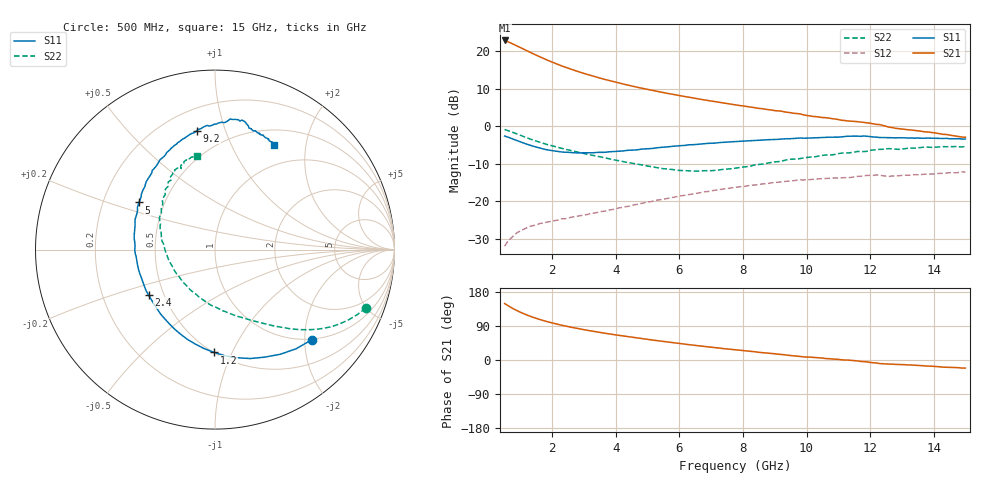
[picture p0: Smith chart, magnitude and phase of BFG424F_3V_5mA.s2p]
! Filename BFG424F_3V_5mA.prm
! Created	by	janssen	on		nov	2006
!	Column ranking S11, S21,S12,S22 both magnitude and phase.
!	VCE	=	3	V,	IC	=	5	mA
!	Common	Emitter	S-Parameters
#	GHZ	S	MA	R	50
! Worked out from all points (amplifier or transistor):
!   146 points, 500 MHz to 15 GHz, reference 50 ohm
!   highest |S21| = 22.8 dB at 500 MHz (marker M1)
!   |S21| within 3 dB of that: start of sweep to 1.261 GHz
!   unconditionally stable (mu >= 1): 3.083 GHz to end of sweep
!   at 2.9 GHz: K = 0.95, MSG = 19.1 dB, |S12| = -23.9 dB
!   at 7.8 GHz: K = 1.25, MAG = 8.0 dB, |S12| = -16.3 dB
!   at 15 GHz: K = 1.57, MAG = 0.2 dB, |S12| = -12.3 dB
!   S11 on the Smith chart (normalised r, x): 500 MHz: 0.99, -2.17; 1.2 GHz: 0.50, -0.86; 2.4 GHz: 0.41, -0.26; 5 GHz: 0.36, +0.25; 9.2 GHz: 0.33, +0.80; 15 GHz: 0.69, +1.48
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0.5  0.737 -42.9  13.87 148.9  0.025 68.8  0.902 -21.2
0.6  0.714 -50.7  13.34 143.7  0.029 65.1  0.871 -24.6
0.7  0.687 -58.1  12.8 138.7  0.032 62.5  0.841 -27.7
0.8  0.66 -65.2  12.23 134.1  0.035 60.0  0.811 -30.6
1  0.615 -78.4  11.12 125.9  0.04 55.9  0.752 -35.6
1.2  0.573 -90.5  10.1 118.8  0.044 53.1  0.698 -39.7
1.4  0.538 -101.6  9.2 112.5  0.047 50.9  0.651 -43.2
1.7  0.498 -116.5  8.066 104.5  0.051 49.2  0.591 -47.7
1.9  0.477 -125.7  7.404 99.8  0.053 48.7  0.558 -50.4
2.1  0.462 -134.1  6.85 95.6  0.055 48.5  0.53 -53.0
2.4  0.448 -145.8  6.124 89.9  0.058 48.8  0.492 -56.7
3  0.44 -165.7  5.032 80.0  0.065 50.5  0.431 -64.5
3.7  0.449 174.7  4.142 70.0  0.074 52.5  0.373 -75.3
4.2  0.465 163.2  3.662 63.7  0.082 53.8  0.338 -84.3
5  0.499 148.2  3.083 54.4  0.097 54.4  0.293 -101.0
5.4  0.518 141.4  2.859 49.9  0.104 54.1  0.274 -110.9
6.5  0.567 125.9  2.345 38.5  0.126 52.3  0.251 -142.1
7.8  0.623 111.2  1.913 26.7  0.153 48.2  0.276 -177.8
9.2  0.67 98.6  1.583 14.8  0.18 42.3  0.34 153.7
10.2  0.695 91.0  1.344 7.0  0.195 37.2  0.387 138.8
12.6  0.703 73.3  0.967 -10.8  0.213 26.2  0.5 114.7
15  0.671 60.6  0.71 -21.4  0.243 18.2  0.533 101.0
